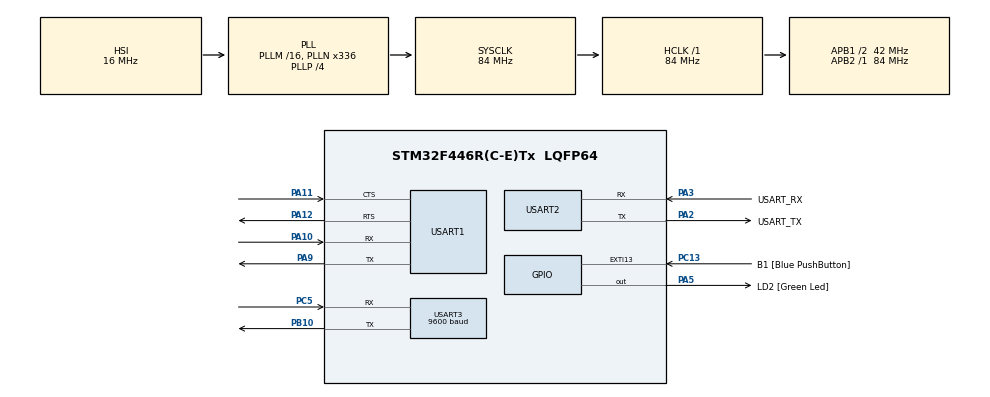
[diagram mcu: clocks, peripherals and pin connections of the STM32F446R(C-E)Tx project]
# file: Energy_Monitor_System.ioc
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Mcu.Family=STM32F4
Mcu.Name=STM32F446R(C-E)Tx
Mcu.Package=LQFP64
NVIC.PriorityGroup=NVIC_PRIORITYGROUP_0
NVIC.USART1_IRQn=true\:0\:0\:false\:false\:true\:true\:true\:true
NVIC.USART3_IRQn=true\:0\:0\:false\:false\:true\:true\:true\:true
PA10.Mode=Asynchronous
PA10.Signal=USART1_RX
PA11.Mode=CTS_RTS
PA11.Signal=USART1_CTS
PA12.Mode=CTS_RTS
PA12.Signal=USART1_RTS
PA13.GPIO_Label=TMS
PA13.Mode=Serial_Wire
PA13.Signal=SYS_JTMS-SWDIO
PA14.GPIO_Label=TCK
PA14.Mode=Serial_Wire
PA14.Signal=SYS_JTCK-SWCLK
PA2.GPIO_Label=USART_TX
PA2.Mode=Asynchronous
PA2.Signal=USART2_TX
PA3.GPIO_Label=USART_RX
PA3.Mode=Asynchronous
PA3.Signal=USART2_RX
PA5.GPIO_Label=LD2 [Green Led]
PA5.Signal=GPIO_Output
PA9.Mode=Asynchronous
PA9.Signal=USART1_TX
PB10.Mode=Asynchronous
PB10.Signal=USART3_TX
PB3.GPIO_Label=SWO
PB3.Signal=SYS_JTDO-SWO
PC13.GPIO_Label=B1 [Blue PushButton]
PC13.GPIO_ModeDefaultEXTI=GPIO_MODE_IT_FALLING
PC13.Signal=GPXTI13
PC14-OSC32_IN.Mode=LSE-External-Oscillator
PC14-OSC32_IN.Signal=RCC_OSC32_IN
PC15-OSC32_OUT.Mode=LSE-External-Oscillator
PC15-OSC32_OUT.Signal=RCC_OSC32_OUT
PC5.Mode=Asynchronous
PC5.Signal=USART3_RX
PH0-OSC_IN.Mode=HSE-External-Oscillator
PH0-OSC_IN.Signal=RCC_OSC_IN
PH1-OSC_OUT.Mode=HSE-External-Oscillator
PH1-OSC_OUT.Signal=RCC_OSC_OUT
ProjectManager.HeapSize=0x200
ProjectManager.StackSize=0x400
ProjectManager.TargetToolchain=STM32CubeIDE
RCC.48MHZClocksFreq_Value=84000000
RCC.AHBFreq_Value=84000000
RCC.APB1CLKDivider=RCC_HCLK_DIV2
RCC.APB1Freq_Value=42000000
RCC.APB1TimFreq_Value=84000000
RCC.APB2Freq_Value=84000000
RCC.APB2TimFreq_Value=84000000
RCC.CortexFreq_Value=84000000
RCC.FLatency-AdvancedSettings=FLASH_LATENCY_2
RCC.HCLKFreq_Value=84000000
RCC.HSE_VALUE=8000000
RCC.HSI_VALUE=16000000
RCC.PLLN=336
RCC.PLLP=RCC_PLLP_DIV4
RCC.SYSCLKFreq_VALUE=84000000
RCC.SYSCLKSource=RCC_SYSCLKSOURCE_PLLCLK
RCC.USBFreq_Value=168000000
RCC.VCOOutputFreq_Value=336000000
USART1.VirtualMode=VM_ASYNC
USART2.VirtualMode=VM_ASYNC
USART3.BaudRate=9600
USART3.VirtualMode=VM_ASYNC
board=NUCLEO-F446RE

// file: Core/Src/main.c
/* USER CODE BEGIN Header */
/**
  ******************************************************************************
  * @file           : main.c
  * @brief          : Main program body
  ******************************************************************************
  * @attention
  *
  * Copyright (c) 2024 STMicroelectronics.
  * All rights reserved.
  *
  * This software is licensed under terms that can be found in the LICENSE file
  * in the root directory of this software component.
  * If no LICENSE file comes with this software, it is provided AS-IS.
  *
  ******************************************************************************
  */
/* USER CODE END Header */
#include "main.h"
#include "string.h"
#include "stdio.h"
#include "modbus_crc.h"

/* USER CODE BEGIN PTD */
float ieee754_to_float(uint8_t byte1, uint8_t byte2, uint8_t byte3,uint8_t byte4);
float ReadModbusParameter(uint8_t regAddressHigh, uint8_t regAddressLow, uint8_t regCountHigh, uint8_t regCountLow);

/* USER CODE END PTD */

/* USER CODE BEGIN PM */
uint8_t rxData[9];
uint8_t txData[8]; // Function code 0x03 for holding registers

/* USER CODE END PM */

UART_HandleTypeDef huart1;
UART_HandleTypeDef huart2;
UART_HandleTypeDef huart3;

/* USER CODE BEGIN PV */

typedef enum {
    STATE_IDLE,
    STATE_SEND_CMD_NAME,
    STATE_WAIT_CMD_NAME,
    STATE_SEND_CMD_RESET,
    STATE_WAIT_CMD_RESET,
    STATE_SEND_CMD_TXPWR,
    STATE_WAIT_CMD_TXPWR,
    STATE_SEND_CMD_SCANPARAM,
    STATE_WAIT_CMD_SCANPARAM,
    STATE_SEND_CMD_SCAN,
    STATE_WAIT_CMD_SCAN,
    STATE_SEND_CMD_CON,
    STATE_WAIT_CMD_CON,
    STATE_SEND_CMD_DATA,
    STATE_WAIT_CMD_DATA,
	STATE_SEND_CMD_VALUE,
	STATE_WAIT_CMD_VALUE
} FSM_State;

FSM_State currentState = STATE_IDLE;

#define RX_BUFFER_SIZE 300

uint8_t rxBuffer[RX_BUFFER_SIZE]; // Buffer for receiving data
uint8_t responseBuffer[RX_BUFFER_SIZE];
volatile uint16_t bufferIndex = 0;
volatile uint8_t rxComplete = 0;

int commandRetryCount = 0; // Counter for retry attempts
#define MAX_RETRY_COUNT 3    // Maximum number of retry attempts

/* USER CODE END PV */

void SystemClock_Config(void);
static void MX_GPIO_Init(void);
static void MX_USART2_UART_Init(void);
static void MX_USART1_UART_Init(void);
static void MX_USART3_UART_Init(void);
/* USER CODE BEGIN PFP */
void sendCommand(const char *cmd);
void processResponse(void);
int validateResponse(const char *expectedResponse);

/* USER CODE END PFP */

int main(void)
{

  /* MCU Configuration--------------------------------------------------------*/

  /* Reset of all peripherals, Initializes the Flash interface and the Systick. */
  HAL_Init();

  /* Configure the system clock */
  SystemClock_Config();

  /* Initialize all configured peripherals */
  MX_GPIO_Init();
  MX_USART2_UART_Init();
  MX_USART1_UART_Init();
  MX_USART3_UART_Init();
  /* USER CODE BEGIN 2 */
  // Start UART receive interrupt
  HAL_UART_Receive_IT(&huart1, rxBuffer, 1);

  currentState = STATE_SEND_CMD_NAME; // Start FSM by sending the first command

  /* USER CODE END 2 */

  /* Infinite loop */
  while (1)
  {
		if (rxComplete) {
			processResponse();
		}

		check_BE33_connection();

  }
}

void check_BE33_connection(void) {
    switch (currentState) {
        case STATE_SEND_CMD_NAME:
            sendCommand("CMD?NAME\r\n");
            HAL_Delay(1000); // Replace with non-blocking timer in production
            currentState = STATE_WAIT_CMD_NAME;
            break;

        case STATE_WAIT_CMD_NAME:
            if (validateResponse("RSP=0")) {
                currentState = STATE_SEND_CMD_RESET;
                commandRetryCount = 0;
            } else {
                if (commandRetryCount < MAX_RETRY_COUNT) {
                    commandRetryCount++;
                    sendCommand("CMD?NAME\r\n");
                    HAL_Delay(1000);
                } else {
                    // Handle retry failure (e.g., log error, alert user)
                    currentState = STATE_IDLE;
                }
            }
            break;

        case STATE_SEND_CMD_RESET:
        	sendCommand("CMD+LREN=1\r\n");
        	HAL_Delay(1000);
            sendCommand("CMD+RESET=0\r\n");
            HAL_Delay(1000);
            currentState = STATE_WAIT_CMD_RESET;
            break;

        case STATE_WAIT_CMD_RESET:
            if (validateResponse("EVT+READY")) {
                currentState = STATE_SEND_CMD_TXPWR;
                commandRetryCount = 0;
            } else {
                if (commandRetryCount < MAX_RETRY_COUNT) {
                    commandRetryCount++;
                    sendCommand("CMD+RESET=0\r\n");
                    HAL_Delay(1000);
                } else {
                    // Handle retry failure
                    currentState = STATE_IDLE;
                }
            }
            break;

        case STATE_SEND_CMD_TXPWR:
            sendCommand("CMD+TXPWR=-4\r\n");
            HAL_Delay(1000);
            currentState = STATE_WAIT_CMD_TXPWR;
            break;

        case STATE_WAIT_CMD_TXPWR:
            if (validateResponse("RSP=0")) {
                currentState = STATE_SEND_CMD_SCANPARAM;
                commandRetryCount = 0;
            } else {
                if (commandRetryCount < MAX_RETRY_COUNT) {
                    commandRetryCount++;
                    sendCommand("CMD+TXPWR=-4\r\n");
                    HAL_Delay(1000);
                } else {
                    // Handle retry failure
                    currentState = STATE_IDLE;
                }
            }
            break;

        case STATE_SEND_CMD_SCANPARAM:
            sendCommand("CMD+SCANPARAM=0,50,100,10000\r\n");
            HAL_Delay(1000);
            currentState = STATE_WAIT_CMD_SCANPARAM;
            break;

        case STATE_WAIT_CMD_SCANPARAM:
            if (validateResponse("RSP=0")) {
                currentState = STATE_SEND_CMD_SCAN;
                commandRetryCount = 0;
            } else {
                if (commandRetryCount < MAX_RETRY_COUNT) {
                    commandRetryCount++;
                    sendCommand("CMD+SCANPARAM=0,50,100,10000\r\n");
                    HAL_Delay(1000);
                } else {
                    // Handle retry failure
                    currentState = STATE_IDLE;
                }
            }
            break;

        case STATE_SEND_CMD_SCAN:
            sendCommand("CMD+SCAN=1\r\n");
            HAL_Delay(6000);
            currentState = STATE_WAIT_CMD_SCAN;
            break;

        case STATE_WAIT_CMD_SCAN:
            if (validateResponse("EVT+ADVRPT")) {
                currentState = STATE_SEND_CMD_CON;
                commandRetryCount = 0;
            } else {
                if (commandRetryCount < MAX_RETRY_COUNT) {
                    commandRetryCount++;
                    sendCommand("CMD+SCAN=1\r\n");
                    HAL_Delay(6000);
                } else {
                    // Handle retry failure
                    currentState = STATE_IDLE;
                }
            }
            break;

        case STATE_SEND_CMD_CON:
            sendCommand("CMD+CON=1,fab321a20744\r\n");
            HAL_Delay(10000);
            currentState = STATE_WAIT_CMD_CON;
            break;

        case STATE_WAIT_CMD_CON:
            if (validateResponse("EVT+CON") && validateResponse("EVT+NOTIFY")) {
                currentState = STATE_SEND_CMD_DATA;
                commandRetryCount = 0;
            } else {
                if (commandRetryCount < MAX_RETRY_COUNT) {
                    commandRetryCount++;
                    sendCommand("CMD+CON=1,fab321a20744\r\n");
                    HAL_Delay(10000);
                } else {
                    // Handle retry failure
                    currentState = STATE_IDLE;
                }
            }
            break;

        case STATE_SEND_CMD_DATA:

            sendCommand("CMD+DATA=<conn_handle>,WELCOME TO EVERY ONE\r\n");
            HAL_Delay(1000);

            currentState = STATE_SEND_CMD_VALUE;
            break;

        case STATE_SEND_CMD_VALUE:
        	EnergyMeterValue();
        	currentState = STATE_SEND_CMD_VALUE;
        	break;

        case STATE_IDLE:
        default:
            break;
    }
}

void sendCommand(const char *cmd) {
    HAL_UART_Transmit(&huart1, (uint8_t*) cmd, strlen(cmd), HAL_MAX_DELAY);
}

void processResponse(void) {
    // Print the entire response buffer to debug
    for (uint16_t i = 0; i < bufferIndex; i++) {
        ITM_SendChar(responseBuffer[i]);
    }
    ITM_SendChar('\n'); // Newline for clarity

    // Check and handle different responses based on state
    switch (currentState) {
        case STATE_WAIT_CMD_NAME:
            if (validateResponse("RSP=0")) {
                currentState = STATE_SEND_CMD_RESET;
                commandRetryCount = 0;
            } else {
                // Handle unexpected response or retry
            }
            break;

        case STATE_WAIT_CMD_RESET:
            if (validateResponse("EVT+READY")) {
                currentState = STATE_SEND_CMD_TXPWR;
                commandRetryCount = 0;
            } else {
                // Handle unexpected response or retry
            }
            break;

        case STATE_WAIT_CMD_TXPWR:
            if (validateResponse("RSP=0")) {
                currentState = STATE_SEND_CMD_SCANPARAM;
                commandRetryCount = 0;
            } else {
                // Handle unexpected response or retry
            }
            break;

        case STATE_WAIT_CMD_SCANPARAM:
            if (validateResponse("RSP=0")) {
                currentState = STATE_SEND_CMD_SCAN;
                commandRetryCount = 0;
            } else {
                // Handle unexpected response or retry
            }
            break;

        case STATE_WAIT_CMD_SCAN:
            if (validateResponse("EVT+ADVRPT")) {
                currentState = STATE_SEND_CMD_CON;
                commandRetryCount = 0;
            } else {
                // Handle unexpected response or retry
            }
            break;

        case STATE_WAIT_CMD_CON:
            if (validateResponse("EVT+CON")) {
                currentState = STATE_SEND_CMD_DATA;
                commandRetryCount = 0;
            } else {
                // Handle unexpected response or retry
            }
            break;

        case STATE_WAIT_CMD_DATA:
            // Handle CMD+DATA responses if necessary
            break;

        default:
            break;
    }

    // Clear buffer and reset index
    bufferIndex = 0;
    memset(responseBuffer, 0, RX_BUFFER_SIZE);
    rxComplete = 0;
}

void EnergyMeterValue(void){
    char cmd[100];

    float voltage = ReadModbusParameter(0x00, 0x00, 0x00, 0x02);
    snprintf(cmd, sizeof(cmd), "CMD+DATA=<conn_handle>,Voltage: %.2f V\r\n", voltage);
    sendCommand(cmd);
    HAL_Delay(1000);

    // Read and print current
    float current = ReadModbusParameter(0x00, 0x06, 0x00, 0x02);
    snprintf(cmd, sizeof(cmd), "CMD+DATA=<conn_handle>,Current: %.2f A\r\n", current);
    sendCommand(cmd);
    HAL_Delay(1000);

    // Read and print frequency
    float frequency = ReadModbusParameter(0x00, 0x46, 0x00, 0x02);
    snprintf(cmd, sizeof(cmd), "CMD+DATA=<conn_handle>,Frequency: %.2f Hz\r\n", frequency);
    sendCommand(cmd);
    HAL_Delay(1000);

    // Read and print power
    float power = ReadModbusParameter(0x00, 0x0C, 0x00, 0x02);
     snprintf(cmd, sizeof(cmd), "CMD+DATA=<conn_handle>,power: %.2f Watt\r\n", power);
    sendCommand(cmd);
    HAL_Delay(1000);

    // Read and print power factor
    float powerFactor = ReadModbusParameter(0x00, 0x1E, 0x00, 0x02);
    snprintf(cmd, sizeof(cmd), "CMD+DATA=<conn_handle>,powerFactor: %.2f \r\n", powerFactor);
    sendCommand(cmd);
    HAL_Delay(1000);

    // Read and print Energy
    float energy = ReadModbusParameter(0x00, 0x6E, 0x00, 0x02);
    snprintf(cmd, sizeof(cmd), "CMD+DATA=<conn_handle>,Energy: %.2f KWh\r\n", energy/1000);
    sendCommand(cmd);
    HAL_Delay(1000);

    // Read and print Energy
    float rpm = ReadModbusParameter(0x00, 0x88, 0x00, 0x02);
	snprintf(cmd, sizeof(cmd), "CMD+DATA=<conn_handle>,RMP: %.2f RPM\r\n", rpm);
	sendCommand(cmd);
	HAL_Delay(1000);
}

int validateResponse(const char *expectedResponse) {
    // Check if the response buffer contains the expected response
    return strstr((char*) responseBuffer, expectedResponse) != NULL;
}

void HAL_UART_RxCpltCallback(UART_HandleTypeDef *huart) {
    if (huart->Instance == USART1) {
        if (bufferIndex < RX_BUFFER_SIZE - 1) {
            responseBuffer[bufferIndex++] = rxBuffer[0];
        }

        if (rxBuffer[0] == '\n' || bufferIndex >= RX_BUFFER_SIZE - 1) {
            responseBuffer[bufferIndex] = '\0';
            rxComplete = 1;
        }

        HAL_UART_Receive_IT(&huart1, rxBuffer, 1);
    }
}

// Function to send a Modbus request and receive the response
float ReadModbusParameter(uint8_t regAddressHigh, uint8_t regAddressLow, uint8_t regCountHigh, uint8_t regCountLow) {
    uint8_t txData[8];
    uint8_t rxData[9];

    txData[0] = 0x01; // Slave Address
    txData[1] = 0x03; // Function Code
    txData[2] = regAddressHigh;
    txData[3] = regAddressLow;
    txData[4] = regCountHigh;
    txData[5] = regCountLow;

    uint16_t crc = crc16(txData, 6);
    txData[6] = crc & 0xFF;
    txData[7] = (crc >> 8) & 0xFF;

    if (HAL_UART_Transmit(&huart3, txData, sizeof(txData), 1000) == HAL_OK) {
        //Print_Raw_Data(txData, sizeof(txData));
        if (HAL_UART_Receive(&huart3, rxData, sizeof(rxData), 1000) == HAL_OK) {
            //Print_Raw_Data(rxData, sizeof(rxData));
            uint8_t byte1 = rxData[3];
            uint8_t byte2 = rxData[4];
            uint8_t byte3 = rxData[5];
            uint8_t byte4 = rxData[6];
            return ieee754_to_float(byte1, byte2, byte3, byte4);
        } else {
            printf("Failed to receive data\n");
            return -1;
        }
    } else {
        printf("Failed to transmit data\n");
        return -1;
    }
}

// Function to convert 32-bit IEEE 754 floating-point number to float
float ieee754_to_float(uint8_t byte1, uint8_t byte2, uint8_t byte3, uint8_t byte4) {
    uint32_t raw_value = (byte1 << 24) | (byte2 << 16) | (byte3 << 8) | byte4;

    int sign = (raw_value >> 31) & 0x1;
    int exponent = (raw_value >> 23) & 0xFF;
    uint32_t mantissa = raw_value & 0x7FFFFF;

    float normalized_mantissa = 1 + (float)mantissa / (1 << 23);
    float final_value = normalized_mantissa * (1 << (exponent - 127));

    if (sign) {
        final_value = -final_value;
    }

    return final_value;
}

int _write(int file, char *ptr, int len) {
    (void) file;
    int DataIdx;
    for (DataIdx = 0; DataIdx < len; DataIdx++) {
        ITM_SendChar(*ptr++);
    }
    return len;
}

void SystemClock_Config(void)
{
  RCC_OscInitTypeDef RCC_OscInitStruct = {0};
  RCC_ClkInitTypeDef RCC_ClkInitStruct = {0};

  /** Configure the main internal regulator output voltage
  */
  __HAL_RCC_PWR_CLK_ENABLE();
  __HAL_PWR_VOLTAGESCALING_CONFIG(PWR_REGULATOR_VOLTAGE_SCALE3);

  /** Initializes the RCC Oscillators according to the specified parameters
  * in the RCC_OscInitTypeDef structure.
  */
  RCC_OscInitStruct.OscillatorType = RCC_OSCILLATORTYPE_HSI;
  RCC_OscInitStruct.HSIState = RCC_HSI_ON;
  RCC_OscInitStruct.HSICalibrationValue = RCC_HSICALIBRATION_DEFAULT;
  RCC_OscInitStruct.PLL.PLLState = RCC_PLL_ON;
  RCC_OscInitStruct.PLL.PLLSource = RCC_PLLSOURCE_HSI;
  RCC_OscInitStruct.PLL.PLLM = 16;
  RCC_OscInitStruct.PLL.PLLN = 336;
  RCC_OscInitStruct.PLL.PLLP = RCC_PLLP_DIV4;
  RCC_OscInitStruct.PLL.PLLQ = 2;
  RCC_OscInitStruct.PLL.PLLR = 2;
  if (HAL_RCC_OscConfig(&RCC_OscInitStruct) != HAL_OK)
  {
    Error_Handler();
  }

  /** Initializes the CPU, AHB and APB buses clocks
  */
  RCC_ClkInitStruct.ClockType = RCC_CLOCKTYPE_HCLK|RCC_CLOCKTYPE_SYSCLK
                              |RCC_CLOCKTYPE_PCLK1|RCC_CLOCKTYPE_PCLK2;
  RCC_ClkInitStruct.SYSCLKSource = RCC_SYSCLKSOURCE_PLLCLK;
  RCC_ClkInitStruct.AHBCLKDivider = RCC_SYSCLK_DIV1;
  RCC_ClkInitStruct.APB1CLKDivider = RCC_HCLK_DIV2;
  RCC_ClkInitStruct.APB2CLKDivider = RCC_HCLK_DIV1;

  if (HAL_RCC_ClockConfig(&RCC_ClkInitStruct, FLASH_LATENCY_2) != HAL_OK)
  {
    Error_Handler();
  }
}

static void MX_USART1_UART_Init(void)
{

  huart1.Instance = USART1;
  huart1.Init.BaudRate = 115200;
  huart1.Init.WordLength = UART_WORDLENGTH_8B;
  huart1.Init.StopBits = UART_STOPBITS_1;
  huart1.Init.Parity = UART_PARITY_NONE;
  huart1.Init.Mode = UART_MODE_TX_RX;
  huart1.Init.HwFlowCtl = UART_HWCONTROL_RTS_CTS;
  huart1.Init.OverSampling = UART_OVERSAMPLING_16;
  if (HAL_UART_Init(&huart1) != HAL_OK)
  {
    Error_Handler();
  }

}

static void MX_USART2_UART_Init(void)
{

  huart2.Instance = USART2;
  huart2.Init.BaudRate = 115200;
  huart2.Init.WordLength = UART_WORDLENGTH_8B;
  huart2.Init.StopBits = UART_STOPBITS_1;
  huart2.Init.Parity = UART_PARITY_NONE;
  huart2.Init.Mode = UART_MODE_TX_RX;
  huart2.Init.HwFlowCtl = UART_HWCONTROL_NONE;
  huart2.Init.OverSampling = UART_OVERSAMPLING_16;
  if (HAL_UART_Init(&huart2) != HAL_OK)
  {
    Error_Handler();
  }

}

static void MX_USART3_UART_Init(void)
{

  huart3.Instance = USART3;
  huart3.Init.BaudRate = 9600;
  huart3.Init.WordLength = UART_WORDLENGTH_8B;
  huart3.Init.StopBits = UART_STOPBITS_1;
  huart3.Init.Parity = UART_PARITY_NONE;
  huart3.Init.Mode = UART_MODE_TX_RX;
  huart3.Init.HwFlowCtl = UART_HWCONTROL_NONE;
  huart3.Init.OverSampling = UART_OVERSAMPLING_16;
  if (HAL_UART_Init(&huart3) != HAL_OK)
  {
    Error_Handler();
  }

}

static void MX_GPIO_Init(void)
{
  GPIO_InitTypeDef GPIO_InitStruct = {0};

  /* GPIO Ports Clock Enable */
  __HAL_RCC_GPIOC_CLK_ENABLE();
  __HAL_RCC_GPIOH_CLK_ENABLE();
  __HAL_RCC_GPIOA_CLK_ENABLE();
  __HAL_RCC_GPIOB_CLK_ENABLE();

  /*Configure GPIO pin Output Level */
  HAL_GPIO_WritePin(LD2_GPIO_Port, LD2_Pin, GPIO_PIN_RESET);

  /*Configure GPIO pin : B1_Pin */
  GPIO_InitStruct.Pin = B1_Pin;
  GPIO_InitStruct.Mode = GPIO_MODE_IT_FALLING;
  GPIO_InitStruct.Pull = GPIO_NOPULL;
  HAL_GPIO_Init(B1_GPIO_Port, &GPIO_InitStruct);

  /*Configure GPIO pin : LD2_Pin */
  GPIO_InitStruct.Pin = LD2_Pin;
  GPIO_InitStruct.Mode = GPIO_MODE_OUTPUT_PP;
  GPIO_InitStruct.Pull = GPIO_NOPULL;
  GPIO_InitStruct.Speed = GPIO_SPEED_FREQ_LOW;
  HAL_GPIO_Init(LD2_GPIO_Port, &GPIO_InitStruct);

}

void Error_Handler(void)
{
  __disable_irq();
  while (1)
  {
  }
}
